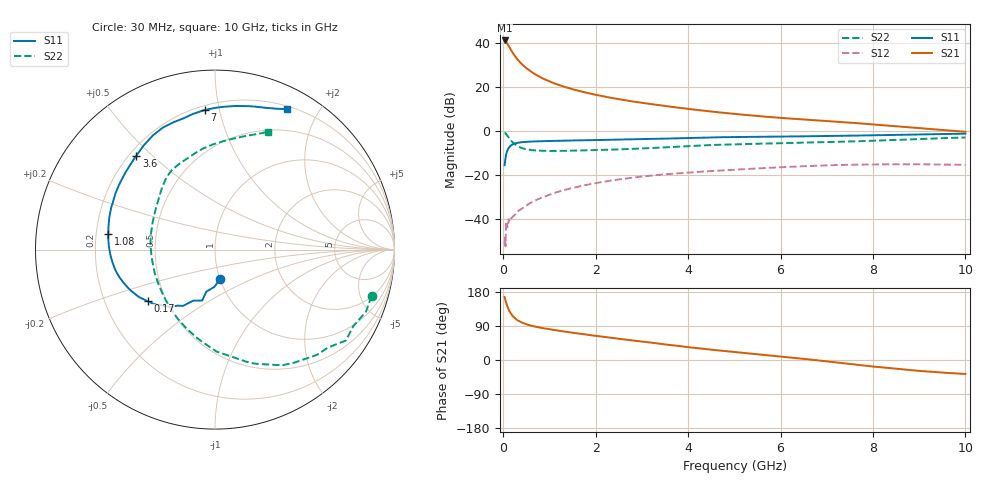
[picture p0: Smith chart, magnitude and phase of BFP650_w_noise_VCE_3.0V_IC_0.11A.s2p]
! Infineon Technologies  Discrete & RF Semiconductors
! BFP650
! VCE =  3.0 V,  IC = 0.11 A
! Common Emitter S-Parameters:  Jan 2016
# GHz  S  MA  R  50
!  f  S11  S21  S12  S22
! GHz  MAG  ANG  MAG  ANG  MAG  ANG  MAG  ANG
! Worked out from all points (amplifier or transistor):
!   229 points, 30 MHz to 10 GHz, reference 50 ohm
!   highest |S21| = 41.4 dB at 30 MHz (marker M1)
!   |S21| within 3 dB of that: start of sweep to 128.8 MHz
!   unconditionally stable (mu >= 1): 1.19 GHz to end of sweep
!   at 280 MHz: K = 0.67, MSG = 35.4 dB, |S12| = -37.3 dB
!   at 1.78 GHz: K = 1.02, MAG = 20.2 dB, |S12| = -24.6 dB
!   at 10 GHz: K = 1.03, MAG = 6.5 dB, |S12| = -15.3 dB
!   lowest NFmin = 1.51 dB at 450 MHz
!   S11 on the Smith chart (normalised r, x): 30 MHz: 1.00, -0.34; 170 MHz: 0.39, -0.29; 1.08 GHz: 0.25, +0.07; 3.6 GHz: 0.23, +0.45; 7 GHz: 0.23, +0.90; 10 GHz: 0.23, +1.62
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0.03  0.1678 -80.7  117.2 166.1  0.0027 100.7  0.9096 -16.5
0.05  0.2395 -101.7  111.8 156.5  0.0024 60.9  0.8809 -28.9
0.06  0.2925 -104.1  109.9 152.6  0.0078 75.9  0.8878 -34.8
0.08  0.342 -117.6  101.9 144.7  0.0078 59.8  0.817 -45.8
0.1  0.3767 -124.0  94.17 138.0  0.0065 62.9  0.7714 -54.5
0.13  0.4296 -134.0  82.58 129.8  0.0095 61.7  0.6917 -67.3
0.17  0.4726 -142.6  70.31 122.3  0.0104 64.8  0.6116 -79.8
0.2  0.4996 -148.1  62.29 116.5  0.0111 60.2  0.5677 -89.2
0.26  0.5277 -155.8  50.54 109.4  0.0127 59.1  0.4972 -102.6
0.3  0.5407 -159.7  44.44 105.6  0.0145 59.8  0.4651 -110.4
0.4  0.5624 -166.7  33.98 98.8  0.0172 62.1  0.4147 -125.4
0.5  0.5734 -171.8  27.37 94.1  0.0202 63.1  0.3884 -136.6
0.7  0.5865 -179.0  19.54 87.7  0.0267 64.0  0.3642 -152.8
1.08  0.6015 171.5  12.64 79.6  0.0386 62.6  0.3555 -171.8
1.7  0.6208 159.4  7.996 68.7  0.0571 57.4  0.3642 169.6
3.4  0.6739 132.8  3.888 42.8  0.1019 39.2  0.4244 137.6
3.6  0.6826 130.0  3.647 39.8  0.1062 36.9  0.4353 134.8
5.1  0.74 112.2  2.425 19.9  0.1346 21.2  0.507 117.2
6.8  0.7732 96.3  1.768 -0.8  0.1641 3.8  0.5592 98.7
7  0.7798 94.3  1.714 -3.6  0.1675 1.6  0.566 97.0
8.4  0.8202 77.0  1.325 -22.0  0.1759 -14.2  0.6274 80.5
10  0.8802 62.7  0.972 -36.8  0.1717 -26.7  0.7205 65.9
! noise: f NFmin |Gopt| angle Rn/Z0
0.45  1.51  0.58  -171  0.06
0.9  1.53  0.59  -164  0.07
1.9  1.69  0.61  -149  0.1
2.4  1.78  0.59  -141  0.14
3.5  1.97  0.6  -118  0.26
